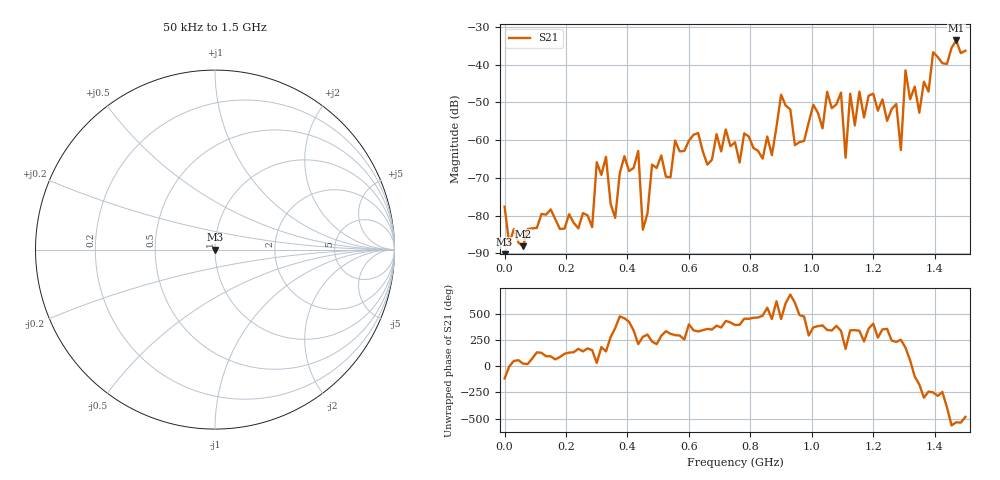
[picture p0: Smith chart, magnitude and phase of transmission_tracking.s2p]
! Created with skrf 1.8.0 (http://scikit-rf.org).
# Hz S RI R 50.0
!freq ReS11 ImS11 ReS21 ImS21 ReS12 ImS12 ReS22 ImS22
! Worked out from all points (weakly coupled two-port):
!   101 points, 50 kHz to 1.5 GHz, reference 50 ohm
!   highest |S21| = -33.60 dB at 1.47 GHz (marker M1); lowest = -88.1 dB at 60.05 MHz (marker M2)
!   lowest |S11| = - dB at 50 kHz (marker M3), VSWR 1.00, Z = 50 + j0 ohm
!   |S11| at or under -10 dB: start of sweep to end of sweep
!   S12 and S22 are empty: the file has one direction only
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50000  0 0  -6.04e-05 -0.000117  0 0  0 0
6.0048e7  0 0  3.58e-05 1.62e-05  0 0  0 0
2.550415e8  0 0  -8.4e-05 6.77e-05  0 0  0 0
3.30039e8  0 0  -0.000463 0.000381  0 0  0 0
3.60038e8  0 0  9.33e-05 4.49e-06  0 0  0 0
3.90037e8  0 0  -6.8e-05 0.000609  0 0  0 0
4.350355e8  0 0  -0.000619 -0.000362  0 0  0 0
4.50035e8  0 0  1.07e-05 -6.42e-05  0 0  0 0
4.650345e8  0 0  5.57e-05 -9.09e-05  0 0  0 0
5.10033e8  0 0  0.000202 -0.000592  0 0  0 0
7.50025e8  0 0  0.000783 0.000514  0 0  0 0
1.005016e9  0 0  0.00289 0.000525  0 0  0 0
1.095014e9  0 0  0.00392 -0.00165  0 0  0 0
1.110013e9  0 0  -0.000565 0.000149  0 0  0 0
1.125012e9  0 0  0.00392 -0.00128  0 0  0 0
1.260008e9  0 0  -0.00111 -0.00232  0 0  0 0
1.290007e9  0 0  -0.000223 -0.000704  0 0  0 0
1.305006e9  0 0  -0.00838 0.00051  0 0  0 0
1.350005e9  0 0  -0.0023 -0.000221  0 0  0 0
1.395004e9  0 0  -0.00497 0.0137  0 0  0 0
1.470001e9  0 0  -0.0208 -0.00192  0 0  0 0
1.5e9  0 0  -0.00837 -0.0128  0 0  0 0
